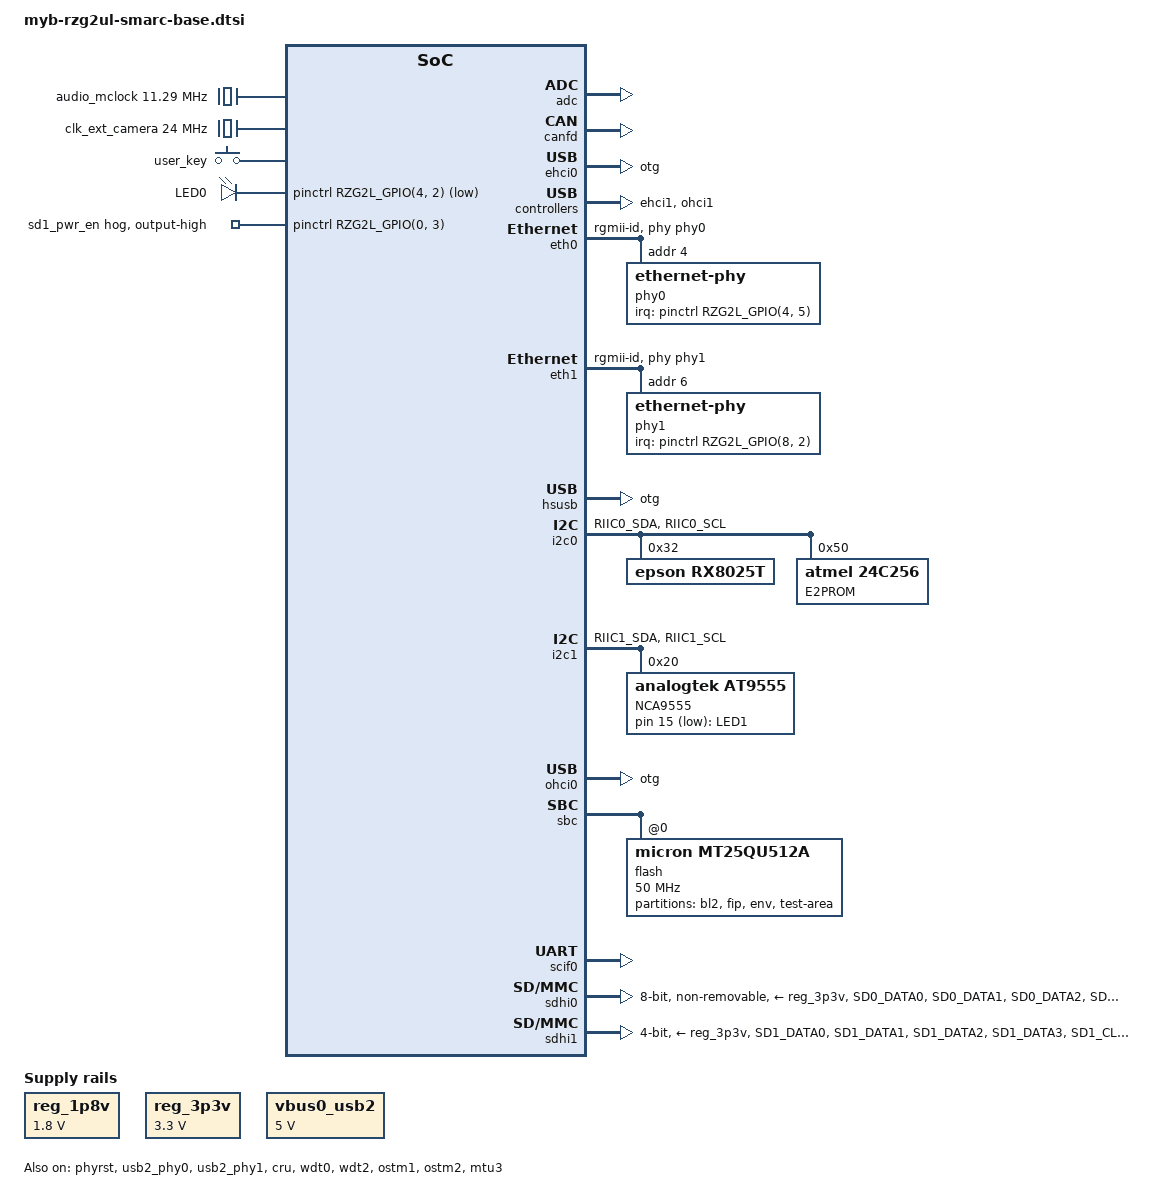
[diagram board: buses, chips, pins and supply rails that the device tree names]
// SPDX-License-Identifier: GPL-2.0
/*
 * Device Tree Source for the RZG2UL Evaluation Board Kit
 *
 * Copyright (C) 2022 Renesas Electronics Corp.
 */

#include <dt-bindings/pinctrl/rzg2l-pinctrl.h>
#include <dt-bindings/gpio/gpio.h>
#include <dt-bindings/input/input.h>

/ {
	aliases {
		i2c0 = &i2c0;
		i2c1 = &i2c1;
		serial0 = &scif0;
		mmc0 = &sdhi0;
		mmc1 = &sdhi1;
		ethernet0 = &eth0;
		ethernet1 = &eth1;
	};

	chosen {
		bootargs = "ignore_loglevel";
		stdout-path = "serial0:115200n8";
	};

	audio_mclock: audio_mclock {
		compatible = "fixed-clock";
		#clock-cells = <0>;
		clock-frequency = <11289600>;
	};

	reg_1p8v: regulator0 {
		compatible = "regulator-fixed";

		regulator-name = "fixed-1.8V";
		regulator-min-microvolt = <1800000>;
		regulator-max-microvolt = <1800000>;
		regulator-boot-on;
		regulator-always-on;
	};

	reg_3p3v: regulator1 {
		compatible = "regulator-fixed";

		regulator-name = "fixed-3.3V";
		regulator-min-microvolt = <3300000>;
		regulator-max-microvolt = <3300000>;
		regulator-boot-on;
		regulator-always-on;
	};

	vbus0_usb2: regulator-vbus0-usb2 {
		compatible = "regulator-fixed";

		regulator-name = "USB20_VBUS0";
		regulator-min-microvolt = <5000000>;
		regulator-max-microvolt = <5000000>;
	};

	x1_clk: x1-clock {
		compatible = "fixed-clock";
		#clock-cells = <0>;
		clock-frequency = <24000000>;
	};

	clk_ext_camera: clk_ext_camera {
		compatible = "fixed-clock";
		#clock-cells = <0>;
		clock-frequency = <24000000>;
	};

	keyboard {
		compatible = "gpio-keys";
		status = "okay";
		key-1 {
			interrupt-parent = <&pinctrl>;
			interrupts = <RZG2L_GPIO(18, 4) IRQ_TYPE_LEVEL_LOW>;
			linux,code = <KEY_1>;
			label = "user_key";
		};
	};

	leds {
		compatible = "gpio-leds";

		led0 {
			gpios = <&pinctrl RZG2L_GPIO(4, 2) GPIO_ACTIVE_LOW>;
			label = "LED0";
			default-state = "on";
			linux,default-trigger = "heartbeat";
		};

		led1 {
			gpios = <&NCA9555 15 GPIO_ACTIVE_LOW>;
			label = "LED1";
			default-state = "on";
			linux,default-trigger = "heartbeat";
		};
	};

};

&audio_clk1{
	clock-frequency = <11289600>;
};

&audio_clk2{
	clock-frequency = <12288000>;
};

&adc {
	pinctrl-0 = <&adc_pins>;
	pinctrl-names = "default";
	status = "okay";
};

&canfd {
	pinctrl-0 = <&canfd0_pins>;
	pinctrl-names = "default";
	status = "okay";
	channel0 {
		status = "okay";
	};
	channel1 {
		status = "disabled";
	};
};

&du {
	pinctrl-0 = <&du_pins>;
	pinctrl-names = "default";
	status = "disabled";
};

&ehci0 {
	dr_mode = "otg";
	status = "okay";
};

&ehci1 {
	status = "okay";
};

&eth0 {
	pinctrl-0 = <&ether0_pins>;
	pinctrl-names = "default";
	phy-handle = <&phy0>;
	phy-mode = "rgmii-id";
	status = "okay";

	phy0: ethernet-phy@4 {
		reg = <4>;
		rxc-skew-psec = <2400>;
		txc-skew-psec = <2400>;
		rxdv-skew-psec = <0>;
		txdv-skew-psec = <0>;
		rxd0-skew-psec = <0>;
		rxd1-skew-psec = <0>;
		rxd2-skew-psec = <0>;
		rxd3-skew-psec = <0>;
		txd0-skew-psec = <0>;
		txd1-skew-psec = <0>;
		txd2-skew-psec = <0>;
		txd3-skew-psec = <0>;

		interrupt-parent = <&pinctrl>;
		interrupts = <RZG2L_GPIO(4, 5) IRQ_TYPE_LEVEL_LOW>;
	};
};

&eth1 {
	pinctrl-0 = <&ether1_pins>;
	pinctrl-names = "default";
	phy-handle = <&phy1>;
	phy-mode = "rgmii-id";
	status = "okay";

	phy1: ethernet-phy@6 {
		reg = <6>;
		rxc-skew-psec = <2400>;
		txc-skew-psec = <2400>;
		rxdv-skew-psec = <0>;
		txdv-skew-psec = <0>;
		rxd0-skew-psec = <0>;
		rxd1-skew-psec = <0>;
		rxd2-skew-psec = <0>;
		rxd3-skew-psec = <0>;
		txd0-skew-psec = <0>;
		txd1-skew-psec = <0>;
		txd2-skew-psec = <0>;
		txd3-skew-psec = <0>;

		interrupt-parent = <&pinctrl>;
		interrupts = <RZG2L_GPIO(8, 2) IRQ_TYPE_LEVEL_LOW>;
	};
};

&hsusb {
	dr_mode = "otg";
	status = "okay";
};

&i2c0 {
	pinctrl-0 = <&i2c0_pins>;
	pinctrl-names = "default";
	status = "okay";

    rx8025t: rx8025t@32 {
		compatible = "epson,rx8025t";
		reg = <0x32>;
    };

	E2PROM:24C256C@50 {
		compatible = "atmel,24c256";
		reg = <0x50>;
		pagesize = <64>;
	};

};

&i2c1 {
	pinctrl-0 = <&i2c1_pins>;
	pinctrl-names = "default";
	status = "okay";

	NCA9555: NCA9555@20 {
			compatible = "analogtek,at9555";
			reg = <0x20>;
			#gpio-cells = <2>;
			gpio_base = <512>;
	};
};

&phyrst {
	status = "okay";
};

&ohci0 {
	dr_mode = "otg";
	status = "okay";
};

&ohci1 {
	status = "okay";
};

&pinctrl {
	pinctrl-0 = <&sound_clk_pins>;
	pinctrl-names = "default";

	adc_pins: adc {
		pinmux = <RZG2L_PORT_PINMUX(10, 4, 2)>; /* ADC_TRG */
	};

	canfd0_pins: can0 {
		pinmux = <RZG2L_PORT_PINMUX(6, 1, 3)>, /* TX */
			 <RZG2L_PORT_PINMUX(6, 2, 3)>; /* RX */
	};

	ether0_pins: eth0 {
		pinmux =
			 <RZG2L_PORT_PINMUX(4, 3, 1)>, /* ET0_MDC */
			 <RZG2L_PORT_PINMUX(4, 4, 1)>, /* ET0_MDIO */
			 <RZG2L_PORT_PINMUX(1, 0, 1)>, /* ET0_TXC */
			 <RZG2L_PORT_PINMUX(1, 1, 1)>, /* ET0_TX_CTL */
			 <RZG2L_PORT_PINMUX(1, 2, 1)>, /* ET0_TXD0 */
			 <RZG2L_PORT_PINMUX(1, 3, 1)>, /* ET0_TXD1 */
			 <RZG2L_PORT_PINMUX(1, 4, 1)>, /* ET0_TXD2 */
			 <RZG2L_PORT_PINMUX(2, 0, 1)>, /* ET0_TXD3 */
			 <RZG2L_PORT_PINMUX(3, 0, 1)>, /* ET0_RXC */
			 <RZG2L_PORT_PINMUX(3, 1, 1)>, /* ET0_RX_CTL */
			 <RZG2L_PORT_PINMUX(3, 2, 1)>, /* ET0_RXD0 */
			 <RZG2L_PORT_PINMUX(3, 3, 1)>, /* ET0_RXD1 */
			 <RZG2L_PORT_PINMUX(4, 0, 1)>, /* ET0_RXD2 */
			 <RZG2L_PORT_PINMUX(4, 1, 1)>; /* ET0_RXD3 */
	};

	ether1_pins: eth1 {
		pinmux =
			 <RZG2L_PORT_PINMUX(10, 2, 1)>, /* ET1_MDC */
			 <RZG2L_PORT_PINMUX(10, 3, 1)>, /* ET1_MDIO */
			 <RZG2L_PORT_PINMUX(7, 0, 1)>, /* ET1_TXC */
			 <RZG2L_PORT_PINMUX(7, 1, 1)>, /* ET1_TX_CTL */
			 <RZG2L_PORT_PINMUX(7, 2, 1)>, /* ET1_TXD0 */
			 <RZG2L_PORT_PINMUX(7, 3, 1)>, /* ET1_TXD1 */
			 <RZG2L_PORT_PINMUX(7, 4, 1)>, /* ET1_TXD2 */
			 <RZG2L_PORT_PINMUX(8, 0, 1)>, /* ET1_TXD3 */
			 <RZG2L_PORT_PINMUX(8, 4, 1)>, /* ET1_RXC */
			 <RZG2L_PORT_PINMUX(9, 0, 1)>, /* ET1_RX_CTL */
			 <RZG2L_PORT_PINMUX(9, 1, 1)>, /* ET1_RXD0 */
			 <RZG2L_PORT_PINMUX(9, 2, 1)>, /* ET1_RXD1 */
			 <RZG2L_PORT_PINMUX(9, 3, 1)>, /* ET1_RXD2 */
			 <RZG2L_PORT_PINMUX(10, 0, 1)>; /* ET1_RXD3 */
	};

	i2c0_pins: i2c0 {
		pins = "RIIC0_SDA", "RIIC0_SCL";
		input-enable;
	};

	i2c1_pins: i2c1 {
		pins = "RIIC1_SDA", "RIIC1_SCL";
		input-enable;
	};

	scif0_pins: scif0 {
		pinmux = <RZG2L_PORT_PINMUX(6, 4, 6)>, /* TxD */
			 <RZG2L_PORT_PINMUX(6, 3, 6)>; /* RxD */
	};

	sd1_pwr_en {
		gpio-hog;
		gpios = <RZG2L_GPIO(0, 3) GPIO_ACTIVE_HIGH>;
		output-high;
		line-name = "sd1_pwr_en";
	};

	/* Support pinctrl for MMC function of SDHI0*/
	sdhi0_pins: sd0 {
		sd0_data {
			pins =  "SD0_DATA0", "SD0_DATA1", "SD0_DATA2",
				"SD0_DATA3", "SD0_DATA4", "SD0_DATA5",
				"SD0_DATA6", "SD0_DATA7";
			power-source  = <1800>;
		};

		sd0_ctrl {
			pins = "SD0_CLK", "SD0_CMD";
			power-source = <1800>;
		};
	};

	sdhi1_pins: sd1 {
		sd1_data {
			pins =	"SD1_DATA0", "SD1_DATA1",
				"SD1_DATA2", "SD1_DATA3";
			power-source  = <3300>;
		};

		sd1_ctrl {
			pins = "SD1_CLK", "SD1_CMD";
			power-source  = <3300>;
		};
	};

	sdhi1_pins_uhs: sd1_uhs {
		sd1_data_uhs {
			pins =	"SD1_DATA0", "SD1_DATA1",
				"SD1_DATA2", "SD1_DATA3";
			power-source  = <1800>;
		};

		sd1_ctrl_uhs {
			pins = "SD1_CLK", "SD1_CMD";
			power-source  = <1800>;
		};
	};

	sound_clk_pins: sound_clk {
		pins = "AUDIO_CLK1", "AUDIO_CLK2";
		input-enable;
	};

	usb0_pins: usb0 {
		pinmux = <RZG2L_PORT_PINMUX(5, 0, 1)>, /* VBUS */
			 <RZG2L_PORT_PINMUX(5, 2, 1)>, /* OVC */
			 <RZG2L_PORT_PINMUX(5, 3, 1)>; /* OTG_ID */
	};

	usb1_pins: usb1 {
		pinmux = <RZG2L_PORT_PINMUX(5, 4, 5)>, /* VBUS */
			 <RZG2L_PORT_PINMUX(6, 0, 1)>; /* OVC */
	};

	du_pins: du {
		data {
			pinmux = <RZG2L_PORT_PINMUX(11, 2, 6)>,
				 <RZG2L_PORT_PINMUX(13, 1, 6)>,
				 <RZG2L_PORT_PINMUX(13, 0, 6)>,
				 <RZG2L_PORT_PINMUX(13, 4, 6)>,
				 <RZG2L_PORT_PINMUX(13, 3, 6)>,
				 <RZG2L_PORT_PINMUX(12, 1, 6)>,
				 <RZG2L_PORT_PINMUX(13, 2, 6)>,
				 <RZG2L_PORT_PINMUX(14, 0, 6)>,
				 <RZG2L_PORT_PINMUX(14, 2, 6)>,
				 <RZG2L_PORT_PINMUX(14, 1, 6)>,
				 <RZG2L_PORT_PINMUX(16, 0, 6)>,
				 <RZG2L_PORT_PINMUX(15, 0, 6)>,
				 <RZG2L_PORT_PINMUX(16, 1, 6)>,
				 <RZG2L_PORT_PINMUX(15, 1, 6)>,
				 <RZG2L_PORT_PINMUX(15, 3, 6)>,
				 <RZG2L_PORT_PINMUX(18, 0, 6)>,
				 <RZG2L_PORT_PINMUX(15, 2, 6)>,
				 <RZG2L_PORT_PINMUX(17, 0, 6)>,
				 <RZG2L_PORT_PINMUX(17, 2, 6)>,
				 <RZG2L_PORT_PINMUX(17, 1, 6)>,
				 <RZG2L_PORT_PINMUX(18, 1, 6)>,
				 <RZG2L_PORT_PINMUX(18, 2, 6)>,
				 <RZG2L_PORT_PINMUX(17, 3, 6)>,
				 <RZG2L_PORT_PINMUX(18, 3, 6)>;
			drive-strength = <2>;
		};

		sync {
			pinmux = <RZG2L_PORT_PINMUX(11, 0, 6)>, /* HSYNC */
				 <RZG2L_PORT_PINMUX(12, 0, 6)>; /* VSYNC */
			drive-strength = <2>;
		};

		de {
			pinmux = <RZG2L_PORT_PINMUX(11, 1, 6)>; /* DE */
			drive-strength = <2>;
		};

		clk {
			pinmux = <RZG2L_PORT_PINMUX(11, 3, 6)>; /* CLK */
		};
	};
};

&sbc {
	status = "okay";

	flash@0 {
		compatible = "micron,mt25qu512a", "jedec,spi-nor";
		reg = <0>;
		m25p,fast-read;
		spi-max-frequency = <50000000>;
		spi-tx-bus-width = <1>;
		spi-rx-bus-width = <4>;

		partitions {
			compatible = "fixed-partitions";
			#address-cells = <1>;
			#size-cells = <1>;

			partition@000000 {
				label = "bl2";
				reg = <0x00000000 0x0001D200>;
				read-only;
			};
			partition@01D200 {
				label = "fip";
				reg = <0x0001D200 0x001C2E00>;
				read-only;
			};
			partition@1E0000 {
				label = "env";
				reg = <0x001E0000 0x00020000>;
				read-only;
			};
			partition@200000 {
				label = "test-area";
				reg = <0x00200000 0x00E00000>;
			};
		};
	};
};

&scif0 {
	pinctrl-0 = <&scif0_pins>;
	pinctrl-names = "default";
	status = "okay";
};

&sdhi0 {
	pinctrl-0 = <&sdhi0_pins>;
	pinctrl-1 = <&sdhi0_pins>;
	pinctrl-names = "default", "state_uhs";

	vmmc-supply = <&reg_3p3v>;
	vqmmc-supply = <&reg_1p8v>;
	bus-width = <8>;
	mmc-hs200-1_8v;
	non-removable;
	fixed-emmc-driver-type = <1>;
	status = "okay";
};

&sdhi1 {
	pinctrl-0 = <&sdhi1_pins>;
	pinctrl-1 = <&sdhi1_pins_uhs>;
	pinctrl-names = "default", "state_uhs";

	vmmc-supply = <&reg_3p3v>;
	vqmmc-supply = <&reg_3p3v>;
	cd-gpios = <&pinctrl RZG2L_GPIO(0, 2) GPIO_ACTIVE_LOW>;
	bus-width = <4>;
	// sd-uhs-sdr50;
	// sd-uhs-sdr104;
	status = "okay";
};

&usb2_phy0 {
	pinctrl-0 = <&usb0_pins>;
	pinctrl-names = "default";

	vbus-supply = <&vbus0_usb2>;
	status = "okay";
};

&usb2_phy1 {
	pinctrl-0 = <&usb1_pins>;
	pinctrl-names = "default";

	status = "okay";
};

&extal_clk {
	clock-frequency = <24000000>;
};

&cru {
	status = "okay";
};

&csi2 {
	status = "disabled";
};

&wdt0 {
	status = "okay";
	timeout-sec = <60>;
};

&wdt2 {
	status = "okay";
	timeout-sec = <60>;
};

&ostm1 {
	status = "okay";
};

&ostm2 {
	status = "okay";
};

&mtu3 {
	status = "okay";
};

